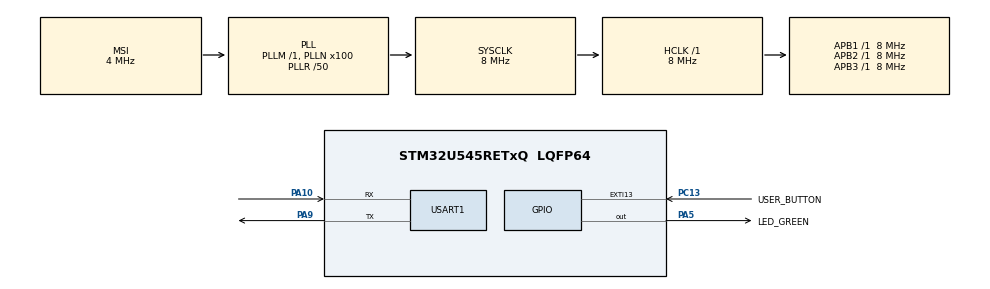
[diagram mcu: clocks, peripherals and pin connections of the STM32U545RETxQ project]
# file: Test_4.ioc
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CORTEX_M33_NS.userName=CORTEX_M33
Mcu.Family=STM32U5
Mcu.Name=STM32U545RETxQ
Mcu.Package=LQFP64
NVIC.EXTI13_IRQn=true\:0\:0\:false\:false\:true\:true\:true\:true
NVIC.PriorityGroup=NVIC_PRIORITYGROUP_4
NVIC.USART1_IRQn=true\:0\:0\:false\:false\:true\:true\:true\:true
PA10.Mode=Asynchronous
PA10.Signal=USART1_RX
PA5.GPIO_Label=LED_GREEN
PA5.GPIO_PuPd=GPIO_PULLUP
PA5.GPIO_Speed=GPIO_SPEED_FREQ_HIGH
PA5.Signal=GPIO_Output
PA9.Mode=Asynchronous
PA9.Signal=USART1_TX
PC13.GPIO_Label=USER_BUTTON
PC13.GPIO_ModeDefaultEXTI=GPIO_MODE_IT_FALLING
PC13.GPIO_PuPd=GPIO_PULLDOWN
PC13.Signal=GPXTI13
PWR.PowerMode=PWR_SMPS_SUPPLY
ProjectManager.HeapSize=0x200
ProjectManager.StackSize=0x400
ProjectManager.TargetToolchain=STM32CubeIDE
RCC.ADCFreq_Value=16000000
RCC.AHBFreq_Value=8000000
RCC.APB1Freq_Value=8000000
RCC.APB1TimFreq_Value=8000000
RCC.APB2Freq_Value=8000000
RCC.APB2TimFreq_Value=8000000
RCC.APB3Freq_Value=8000000
RCC.CortexFreq_Value=8000000
RCC.DACCLockSelectionVirtual=RCC_DAC1CLKSOURCE_LSI
RCC.DACCLockSelectionVirtualString=RCC_DAC1CLKSOURCE_LSI
RCC.EPOD_VALUE=4000000
RCC.HCLKFreq_Value=8000000
RCC.HSE_VALUE=16000000
RCC.HSI48_VALUE=48000000
RCC.HSI_VALUE=16000000
RCC.LSE_VALUE=32768
RCC.LSIDIV_VALUE=32000
RCC.MSI_VALUE=4000000
RCC.PLL1R=50
RCC.PLLN=100
RCC.SYSCLKFreq_VALUE=8000000
RCC.SYSCLKSource=RCC_SYSCLKSOURCE_PLLCLK
RCC.USBFreq_Value=48000000
RCC.VCOOutputFreq_Value=400000000
USART1.VirtualMode-Asynchronous=VM_ASYNC
VP_ICACHE_VS_ICACHE.Mode=DirectMappedCache
VP_LPBAMQUEUE_VS_QUEUE.Mode=QUEUEMODE
VP_LPBAM_VS_SIG1.Mode=SmartRun
VP_LPBAM_VS_SIG4.Mode=LPDMA1
VP_MEMORYMAP_VS_MEMORYMAP.Mode=CurAppReg
VP_NUCLEO-U545RE-Q_VS_BSP_COMMON.Mode=COMMON
VP_PWR_VS_LPOM.Mode=PowerOptimisation
VP_PWR_VS_SECSignals.Mode=Security/Privilege
board=NUCLEO-U545RE-Q

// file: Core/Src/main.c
/* USER CODE BEGIN Header */
/**
 ******************************************************************************
 * @file           : main.c
 * @brief          : Main program body
 ******************************************************************************
 * @attention
 *
 * Copyright (c) 2025 STMicroelectronics.
 * All rights reserved.
 *
 * This software is licensed under terms that can be found in the LICENSE file
 * in the root directory of this software component.
 * If no LICENSE file comes with this software, it is provided AS-IS.
 *
 ******************************************************************************
 */
/* USER CODE END Header */
#include "main.h"

/* USER CODE BEGIN Includes */
#include <string.h>
#include <stdio.h>
#define RX_BUFFER_SIZE 32
/* USER CODE END Includes */

UART_HandleTypeDef huart1;

/* USER CODE BEGIN PV */
uint8_t received_char;
uint8_t rx_buffer[RX_BUFFER_SIZE];
uint8_t rx_index = 0;
volatile uint8_t data_ready_flag = 0;

/* USER CODE END PV */

void SystemClock_Config(void);
static void SystemPower_Config(void);
static void MX_GPIO_Init(void);
static void MX_ICACHE_Init(void);
static void MX_USART1_UART_Init(void);

int main(void)
{

  /* MCU Configuration--------------------------------------------------------*/

  /* Reset of all peripherals, Initializes the Flash interface and the Systick. */
  HAL_Init();

  /* Configure the System Power */
  SystemPower_Config();

  /* Configure the system clock */
  SystemClock_Config();

  /* Initialize all configured peripherals */
  MX_GPIO_Init();
  MX_ICACHE_Init();
  MX_USART1_UART_Init();
  /* USER CODE BEGIN 2 */
	HAL_UART_Receive_IT(&huart1, &received_char, 1);

  /* USER CODE END 2 */

  /* Infinite loop */
  /* USER CODE BEGIN WHILE */
	while (1) {
		if (data_ready_flag == 1) {
			// Reset the flag
			data_ready_flag = 0;

			// Buffer for the response string
			char tx_buffer[50];

			// Compare the received string and prepare the response
			if (strcmp((char*) rx_buffer, "avinash") == 0)
			{
				sprintf(tx_buffer, "Hello, Avinash \r\n");
			}
			else if (strcmp((char*) rx_buffer, "sachin") == 0)
			{
				sprintf(tx_buffer, "Hello, Sachin \r\n");
			}
			else
			{
				sprintf(tx_buffer, "Who are you? \r\n");
				//sprintf(tx_buffer, (char*) rx_buffer);
			}

			// Transmit the response
			HAL_UART_Transmit(&huart1, (uint8_t*) tx_buffer, strlen(tx_buffer), HAL_MAX_DELAY);
		}

    /* USER CODE END WHILE */

	}
}

void SystemClock_Config(void)
{
  RCC_OscInitTypeDef RCC_OscInitStruct = {0};
  RCC_ClkInitTypeDef RCC_ClkInitStruct = {0};

  /** Configure the main internal regulator output voltage
  */
  if (HAL_PWREx_ControlVoltageScaling(PWR_REGULATOR_VOLTAGE_SCALE3) != HAL_OK)
  {
    Error_Handler();
  }

  /** Initializes the CPU, AHB and APB buses clocks
  */
  RCC_OscInitStruct.OscillatorType = RCC_OSCILLATORTYPE_MSI;
  RCC_OscInitStruct.MSIState = RCC_MSI_ON;
  RCC_OscInitStruct.MSICalibrationValue = RCC_MSICALIBRATION_DEFAULT;
  RCC_OscInitStruct.MSIClockRange = RCC_MSIRANGE_4;
  RCC_OscInitStruct.PLL.PLLState = RCC_PLL_ON;
  RCC_OscInitStruct.PLL.PLLSource = RCC_PLLSOURCE_MSI;
  RCC_OscInitStruct.PLL.PLLMBOOST = RCC_PLLMBOOST_DIV1;
  RCC_OscInitStruct.PLL.PLLM = 1;
  RCC_OscInitStruct.PLL.PLLN = 100;
  RCC_OscInitStruct.PLL.PLLP = 2;
  RCC_OscInitStruct.PLL.PLLQ = 2;
  RCC_OscInitStruct.PLL.PLLR = 50;
  RCC_OscInitStruct.PLL.PLLRGE = RCC_PLLVCIRANGE_0;
  RCC_OscInitStruct.PLL.PLLFRACN = 0;
  if (HAL_RCC_OscConfig(&RCC_OscInitStruct) != HAL_OK)
  {
    Error_Handler();
  }

  /** Initializes the CPU, AHB and APB buses clocks
  */
  RCC_ClkInitStruct.ClockType = RCC_CLOCKTYPE_HCLK|RCC_CLOCKTYPE_SYSCLK
                              |RCC_CLOCKTYPE_PCLK1|RCC_CLOCKTYPE_PCLK2
                              |RCC_CLOCKTYPE_PCLK3;
  RCC_ClkInitStruct.SYSCLKSource = RCC_SYSCLKSOURCE_PLLCLK;
  RCC_ClkInitStruct.AHBCLKDivider = RCC_SYSCLK_DIV1;
  RCC_ClkInitStruct.APB1CLKDivider = RCC_HCLK_DIV1;
  RCC_ClkInitStruct.APB2CLKDivider = RCC_HCLK_DIV1;
  RCC_ClkInitStruct.APB3CLKDivider = RCC_HCLK_DIV1;

  if (HAL_RCC_ClockConfig(&RCC_ClkInitStruct, FLASH_LATENCY_0) != HAL_OK)
  {
    Error_Handler();
  }
}

/**
  * @brief Power Configuration
  * @retval None
  */
static void SystemPower_Config(void)
{

  /*
   * Switch to SMPS regulator instead of LDO
   */
  if (HAL_PWREx_ConfigSupply(PWR_SMPS_SUPPLY) != HAL_OK)
  {
    Error_Handler();
  }
}

static void MX_ICACHE_Init(void)
{

  /** Enable instruction cache in 1-way (direct mapped cache)
  */
  if (HAL_ICACHE_ConfigAssociativityMode(ICACHE_1WAY) != HAL_OK)
  {
    Error_Handler();
  }
  if (HAL_ICACHE_Enable() != HAL_OK)
  {
    Error_Handler();
  }

}

static void MX_USART1_UART_Init(void)
{

  huart1.Instance = USART1;
  huart1.Init.BaudRate = 115200;
  huart1.Init.WordLength = UART_WORDLENGTH_8B;
  huart1.Init.StopBits = UART_STOPBITS_1;
  huart1.Init.Parity = UART_PARITY_NONE;
  huart1.Init.Mode = UART_MODE_TX_RX;
  huart1.Init.HwFlowCtl = UART_HWCONTROL_NONE;
  huart1.Init.OverSampling = UART_OVERSAMPLING_16;
  huart1.Init.OneBitSampling = UART_ONE_BIT_SAMPLE_DISABLE;
  huart1.Init.ClockPrescaler = UART_PRESCALER_DIV1;
  huart1.AdvancedInit.AdvFeatureInit = UART_ADVFEATURE_NO_INIT;
  if (HAL_UART_Init(&huart1) != HAL_OK)
  {
    Error_Handler();
  }
  if (HAL_UARTEx_SetTxFifoThreshold(&huart1, UART_TXFIFO_THRESHOLD_1_8) != HAL_OK)
  {
    Error_Handler();
  }
  if (HAL_UARTEx_SetRxFifoThreshold(&huart1, UART_RXFIFO_THRESHOLD_1_8) != HAL_OK)
  {
    Error_Handler();
  }
  if (HAL_UARTEx_DisableFifoMode(&huart1) != HAL_OK)
  {
    Error_Handler();
  }

}

static void MX_GPIO_Init(void)
{
  GPIO_InitTypeDef GPIO_InitStruct = {0};

  /* GPIO Ports Clock Enable */
  __HAL_RCC_GPIOC_CLK_ENABLE();
  __HAL_RCC_GPIOA_CLK_ENABLE();

  /*Configure GPIO pin Output Level */
  HAL_GPIO_WritePin(LED_GREEN_GPIO_Port, LED_GREEN_Pin, GPIO_PIN_RESET);

  /*Configure GPIO pin : USER_BUTTON_Pin */
  GPIO_InitStruct.Pin = USER_BUTTON_Pin;
  GPIO_InitStruct.Mode = GPIO_MODE_IT_FALLING;
  GPIO_InitStruct.Pull = GPIO_PULLDOWN;
  HAL_GPIO_Init(USER_BUTTON_GPIO_Port, &GPIO_InitStruct);

  /*Configure GPIO pin : LED_GREEN_Pin */
  GPIO_InitStruct.Pin = LED_GREEN_Pin;
  GPIO_InitStruct.Mode = GPIO_MODE_OUTPUT_PP;
  GPIO_InitStruct.Pull = GPIO_PULLUP;
  GPIO_InitStruct.Speed = GPIO_SPEED_FREQ_HIGH;
  HAL_GPIO_Init(LED_GREEN_GPIO_Port, &GPIO_InitStruct);

  /* EXTI interrupt init*/
  HAL_NVIC_SetPriority(EXTI13_IRQn, 0, 0);
  HAL_NVIC_EnableIRQ(EXTI13_IRQn);

}

/* USER CODE BEGIN 4 */
void HAL_UART_RxCpltCallback(UART_HandleTypeDef *huart) {
	// Check if the interrupt is from the correct UART instance
	if (huart->Instance == USART1) {
		if (received_char == '\n' || received_char == '\r')
		{
			// Null-terminate the string in the buffer
			rx_buffer[rx_index] = '\0';

			// Set the flag to indicate a complete message is ready
			data_ready_flag = 1;

			// Reset the buffer index for the next message
			rx_index = 0;
		}
		else
		{
			if (rx_index < RX_BUFFER_SIZE - 1)
			{
				rx_buffer[rx_index++] = received_char;
			}
		}
	HAL_UART_Receive_IT(&huart1, &received_char, 1);
	}
}
/* USER CODE END 4 */

void Error_Handler(void)
{
	__disable_irq();
	while (1) {
	}
}
